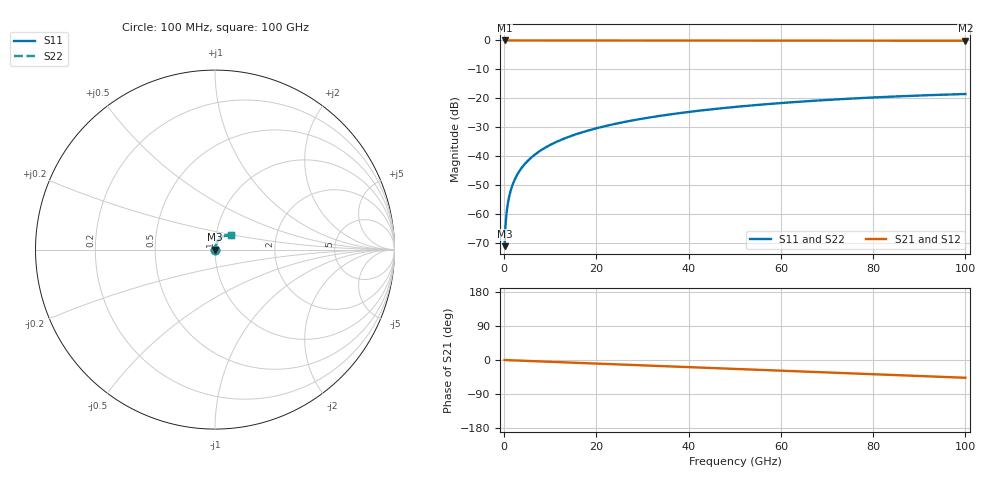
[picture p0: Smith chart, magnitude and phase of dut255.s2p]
! Touchstone file exported from HFSS 2026.1.0
!  File:  C:/ffzhzh/LocalFiles/Ansys_Project_Files/temp_train_TSV_255_1783508391_9504.aedt
!  Generated:  07:01:15 PM Jul  8, 2026
!  Design:  TSV
!  Project:  temp_train_TSV_255_1783508391_9504
! Variables:
!  h_bsmrdl = 2um
!  h_ox = 20um
!  h_rdl = 5um
!  h_sub = 94.73um
!  h_tmrdl = 5um
!  h_tsv = 94.73um
!  h_via = 3um
!  l_bsmrdl = 300um
!  l_sub = 416.96um
!  l_tmrdl = 200um
!  m_sub = 200um
!  pitch = 43.35um
!  r_tsv = 8.48um
!  s_tmrdl = 10um
!  w_bsmrdl = 18um
!  w_sub = 500um
!  w_tmrdl = 12um
!  x_tsv_center1 = 206um
!  x_tsv_center2 = 524um
!  x_tsv_center3 = 736um
!  x_tsv_center4 = 1054um
!  x_tsv_center5 = 1266um
!  x_tsv_center6 = 1584um
# GHz S MA R 50.000000
! Terminal data exported
! Port[1] = TSV1_1_T1
! Port[2] = TSV1_1_T2
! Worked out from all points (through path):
!   1000 points, 100 MHz to 100 GHz, reference 50 ohm
!   highest |S21| = 0.00 dB at 100 MHz (marker M1); lowest = -0.1 dB at 100 GHz (marker M2)
!   group delay of S21, straight-line fit = 1.3 ps
!   lowest |S11| = -71.2 dB at 100 MHz (marker M3), VSWR 1.00, Z = 50 + j0.0201 ohm
!   |S11| at or under -10 dB: start of sweep to end of sweep
!   |S22| runs from -71.2 to -18.5 dB; largest |S21 - S12| = 4.2e-15
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0.1  0.0002744 47.0  0.9998 -0.1  0.9998 -0.1  0.0002744 47.0
! Gamma 0 0 0 0
! Port Impedance 50 0 50 0
0.4  0.0008093 72.3  0.9998 -0.2  0.9998 -0.2  0.0008093 72.3
0.7  0.00133 76.2  0.9997 -0.3  0.9997 -0.3  0.00133 76.2
0.8  0.001497 76.9  0.9997 -0.4  0.9997 -0.4  0.001497 76.9
1.1  0.001992 78.4  0.9996 -0.5  0.9996 -0.5  0.001992 78.4
1.4  0.002479 79.3  0.9996 -0.7  0.9996 -0.7  0.002479 79.3
1.9  0.003281 80.3  0.9995 -0.9  0.9995 -0.9  0.003281 80.3
2.4  0.004069 80.8  0.9994 -1.2  0.9994 -1.2  0.004069 80.8
3.1  0.005157 81.3  0.9993 -1.5  0.9993 -1.5  0.005157 81.3
3.9  0.006383 81.6  0.9992 -1.9  0.9992 -1.9  0.006383 81.5
4.9  0.007903 81.7  0.9992 -2.3  0.9992 -2.3  0.007903 81.7
6.1  0.009717 81.7  0.999 -2.9  0.999 -2.9  0.009717 81.7
8.9  0.01391 81.2  0.9988 -4.2  0.9988 -4.2  0.01391 81.2
12.4  0.0191 80.2  0.9985 -5.9  0.9985 -5.9  0.0191 80.2
16.8  0.02553 78.6  0.9981 -8.0  0.9981 -8.0  0.02553 78.6
24.2  0.03615 75.7  0.9975 -11.4  0.9975 -11.4  0.03615 75.7
33.4  0.04895 71.8  0.9966 -15.8  0.9966 -15.8  0.04895 71.8
41.2  0.05938 68.3  0.9959 -19.4  0.9959 -19.4  0.05938 68.3
50.1  0.07069 64.4  0.9949 -23.6  0.9949 -23.6  0.07069 64.4
66.7  0.08983 56.9  0.993 -31.3  0.993 -31.3  0.08983 56.9
83.4  0.106 49.3  0.991 -39.1  0.991 -39.1  0.106 49.2
100  0.1182 41.7  0.9892 -46.9  0.9892 -46.9  0.1182 41.7
